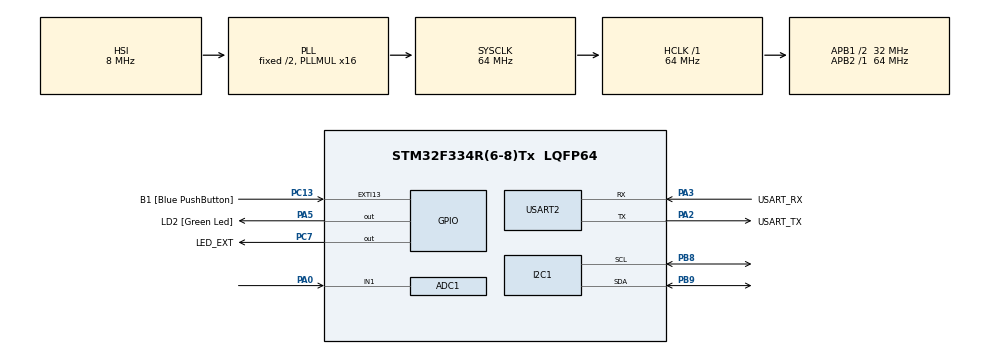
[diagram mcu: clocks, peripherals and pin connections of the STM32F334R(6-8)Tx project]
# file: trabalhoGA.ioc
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ADC1.Channel-0\#ChannelRegularConversion=ADC_CHANNEL_1
ADC1.ClockPrescaler=ADC_CLOCK_SYNC_PCLK_DIV2
ADC1.NbrOfConversionFlag=1
ADC1.Offset-0\#ChannelRegularConversion=0
ADC1.OffsetNumber-0\#ChannelRegularConversion=ADC_OFFSET_NONE
ADC1.Overrun=ADC_OVR_DATA_PRESERVED
ADC1.Rank-0\#ChannelRegularConversion=1
ADC1.SamplingTime-0\#ChannelRegularConversion=ADC_SAMPLETIME_61CYCLES_5
ADC1.SamplingTimeOPAMP-0\#ChannelRegularConversion=ADC_SAMPLETIME_61CYCLES_5
ADC1.SubFamily=STM32F334x8
ADC1.master=1
I2C1.Timing=0x00201D2B
Mcu.Family=STM32F3
Mcu.Name=STM32F334R(6-8)Tx
Mcu.Package=LQFP64
NVIC.EXTI15_10_IRQn=true\:0\:0\:false\:false\:true\:true\:true\:true
NVIC.PriorityGroup=NVIC_PRIORITYGROUP_0
NVIC.TIM6_DAC1_IRQn=true\:0\:0\:false\:false\:true\:true\:true\:true
PA0.Mode=IN1-Single-Ended
PA0.Signal=ADC1_IN1
PA13.GPIO_Label=TMS
PA13.Mode=Serial_Wire
PA13.Signal=SYS_JTMS-SWDIO
PA14.GPIO_Label=TCK
PA14.Mode=Serial_Wire
PA14.Signal=SYS_JTCK-SWCLK
PA2.GPIO_Label=USART_TX
PA2.Mode=Asynchronous
PA2.Signal=USART2_TX
PA3.GPIO_Label=USART_RX
PA3.Mode=Asynchronous
PA3.Signal=USART2_RX
PA5.GPIO_Label=LD2 [Green Led]
PA5.Signal=GPIO_Output
PB3.GPIO_Label=SWO
PB3.Signal=SYS_JTDO-TRACESWO
PB8.Mode=I2C
PB8.Signal=I2C1_SCL
PB9.Mode=I2C
PB9.Signal=I2C1_SDA
PC13.GPIO_Label=B1 [Blue PushButton]
PC13.GPIO_ModeDefaultEXTI=GPIO_MODE_IT_FALLING
PC13.Signal=GPXTI13
PC14\ /\ OSC32_IN.Mode=LSE-External-Oscillator
PC14\ /\ OSC32_IN.Signal=RCC_OSC32_IN
PC15\ /\ OSC32_OUT.GPIO_Label=RCC_OSC32_OUT
PC15\ /\ OSC32_OUT.Mode=LSE-External-Oscillator
PC15\ /\ OSC32_OUT.Signal=RCC_OSC32_OUT
PC7.GPIO_Label=LED_EXT
PC7.Signal=GPIO_Output
PF0\ /\ OSC_IN.Mode=HSE-External-Clock-Source
PF0\ /\ OSC_IN.Signal=RCC_OSC_IN
PF1\ /\ OSC_OUT.Signal=RCC_OSC_OUT
ProjectManager.HeapSize=0x200
ProjectManager.StackSize=0x400
ProjectManager.TargetToolchain=CMake
RCC.AHBFreq_Value=64000000
RCC.APB1CLKDivider=RCC_HCLK_DIV2
RCC.APB1Freq_Value=32000000
RCC.APB1TimFreq_Value=64000000
RCC.APB2Freq_Value=64000000
RCC.APB2TimFreq_Value=64000000
RCC.CortexFreq_Value=64000000
RCC.FLatency-AdvancedSettings=FLASH_LATENCY_2
RCC.HCLKFreq_Value=64000000
RCC.HSE_VALUE=8000000
RCC.HSI_VALUE=8000000
RCC.PLLMUL=RCC_PLL_MUL16
RCC.SYSCLKFreq_VALUE=64000000
RCC.SYSCLKSourceVirtual=RCC_SYSCLKSOURCE_PLLCLK
TIM6.Period=199
TIM6.Prescaler=63999
USART2.VirtualMode-Asynchronous=VM_ASYNC
VP_TIM6_VS_ClockSourceINT.Mode=Enable_Timer
board=NUCLEO-F334R8

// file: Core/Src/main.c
/* USER CODE BEGIN Header */
/**
 ******************************************************************************
 * @file           : main.c
 * @brief          : Main program body
 ******************************************************************************
 * @attention
 *
 * Copyright (c) 2026 STMicroelectronics.
 * All rights reserved.
 *
 * This software is licensed under terms that can be found in the LICENSE file
 * in the root directory of this software component.
 * If no LICENSE file comes with this software, it is provided AS-IS.
 *
 ******************************************************************************
 */
/* USER CODE END Header */
#include "main.h"
#include "adc.h"
#include "i2c.h"
#include "tim.h"
#include "usart.h"
#include "gpio.h"

/* USER CODE BEGIN Includes */
#include "bh1750.h"
/* USER CODE END Includes */

/* USER CODE BEGIN PTD */
typedef struct {
  uint16_t manualCountdown;
} Contexto;

typedef enum {
  INIT,
  AGUARDANDO,
  MEDIR,
  CLARO,
  ESCURO,
  MANUAL,
  ERRO
} EstadoID;

typedef EstadoID EstadoFunc(Contexto *ctx);
/* USER CODE END PTD */

/* USER CODE BEGIN PD */
#define LUZ_MIN 10
#define LUZ_MAX 500
#define MANUAL_TIMEOUT_TICKS 50 // 50 * 200ms = 10s
/* USER CODE END PD */

/* USER CODE BEGIN PV */
volatile uint8_t g_timerFlag = 0;
volatile uint8_t g_buttonFlag = 0;
float lux = 0;
float lux_minima = 0;
/* USER CODE END PV */

void SystemClock_Config(void);

/* USER CODE BEGIN 0 */
static EstadoID init(Contexto *ctx) {
  return AGUARDANDO;
}

static EstadoID aguardando(Contexto *ctx) {
  if (g_buttonFlag) {
    g_buttonFlag = 0;
    ctx->manualCountdown = MANUAL_TIMEOUT_TICKS;
    return MANUAL;
  }
  if (g_timerFlag) {
    g_timerFlag = 0;
    return MEDIR;
  }
  return AGUARDANDO;
}

static EstadoID medir(Contexto *ctx) {
  uint32_t potenciometro = 0;
  HAL_ADC_Start(&hadc1);
  if (HAL_ADC_PollForConversion(&hadc1, 10) == HAL_OK) {
    potenciometro = HAL_ADC_GetValue(&hadc1);
  }
  HAL_ADC_Stop(&hadc1);
  lux_minima = LUZ_MIN + (potenciometro / 4095.0f) * (LUZ_MAX - LUZ_MIN);

  HAL_StatusTypeDef st_read = BH1750_ReadLux(&hi2c1, &lux);
  if (st_read != HAL_OK) {
    return ERRO;
  }
  return (lux < lux_minima) ? ESCURO : CLARO;
}

static EstadoID claro(Contexto *ctx) {
  HAL_GPIO_WritePin(LED_EXT_GPIO_Port, LED_EXT_Pin, GPIO_PIN_RESET);
  return AGUARDANDO;
}

static EstadoID escuro(Contexto *ctx) {
  HAL_GPIO_WritePin(LED_EXT_GPIO_Port, LED_EXT_Pin, GPIO_PIN_SET);
  return AGUARDANDO;
}

static EstadoID manual(Contexto *ctx) {
  /* LED fixo aceso por 10s, sensor ignorado */
  HAL_GPIO_WritePin(LED_EXT_GPIO_Port, LED_EXT_Pin, GPIO_PIN_SET);
  if (g_buttonFlag) {
    g_buttonFlag = 0;
    HAL_GPIO_WritePin(LED_EXT_GPIO_Port, LED_EXT_Pin, GPIO_PIN_RESET);
    return AGUARDANDO;
  }
  if (g_timerFlag) {
    g_timerFlag = 0;
    ctx->manualCountdown--;
    if (ctx->manualCountdown == 0) {
      HAL_GPIO_WritePin(LED_EXT_GPIO_Port, LED_EXT_Pin, GPIO_PIN_RESET);
      return AGUARDANDO;
    }
    return MANUAL;
  }
  return MANUAL;
}

static EstadoID erro(Contexto *ctx) {
  HAL_GPIO_WritePin(LED_EXT_GPIO_Port, LED_EXT_Pin, GPIO_PIN_RESET);
  return AGUARDANDO;
}
/* USER CODE END 0 */

int main(void)
{

  /* MCU Configuration--------------------------------------------------------*/

  /* Reset of all peripherals, Initializes the Flash interface and the Systick. */
  HAL_Init();

  /* Configure the system clock */
  SystemClock_Config();

  /* Initialize all configured peripherals */
  MX_GPIO_Init();
  MX_I2C1_Init();
  MX_USART2_UART_Init();
  MX_ADC1_Init();
  MX_TIM6_Init();
  /* USER CODE BEGIN 2 */

  HAL_ADCEx_Calibration_Start(&hadc1, ADC_SINGLE_ENDED); // Autocalibração do ADC

  HAL_StatusTypeDef st_power = BH1750_PowerOn(&hi2c1);
  HAL_StatusTypeDef st_mode = BH1750_SetMode(&hi2c1, BH1750_MODE_CONTINUOUS_H_RES); // Sensor em medição contínua

  HAL_Delay(180); // Espera 180 ms, o tempo máximo de uma conversão em alta resolução segundo o datasheet, assim a primeira leitura já tem um valor válido

  HAL_TIM_Base_Start_IT(&htim6);

  Contexto ctx = {0};
  EstadoID estadoAtual = INIT;

  EstadoFunc *tabela_estados[] = {
      [INIT] = init,     [AGUARDANDO] = aguardando,
      [MEDIR] = medir,   [CLARO] = claro,
      [ESCURO] = escuro, [MANUAL] = manual,
      [ERRO] = erro,
  };
  /* USER CODE END 2 */

  /* Infinite loop */
  /* USER CODE BEGIN WHILE */
  while (1) {
    estadoAtual = tabela_estados[estadoAtual](&ctx);
    /* USER CODE END WHILE */

  }
}

void SystemClock_Config(void)
{
  RCC_OscInitTypeDef RCC_OscInitStruct = {0};
  RCC_ClkInitTypeDef RCC_ClkInitStruct = {0};
  RCC_PeriphCLKInitTypeDef PeriphClkInit = {0};

  /** Initializes the RCC Oscillators according to the specified parameters
  * in the RCC_OscInitTypeDef structure.
  */
  RCC_OscInitStruct.OscillatorType = RCC_OSCILLATORTYPE_HSI;
  RCC_OscInitStruct.HSIState = RCC_HSI_ON;
  RCC_OscInitStruct.HSICalibrationValue = RCC_HSICALIBRATION_DEFAULT;
  RCC_OscInitStruct.PLL.PLLState = RCC_PLL_ON;
  RCC_OscInitStruct.PLL.PLLSource = RCC_PLLSOURCE_HSI;
  RCC_OscInitStruct.PLL.PLLMUL = RCC_PLL_MUL16;
  if (HAL_RCC_OscConfig(&RCC_OscInitStruct) != HAL_OK)
  {
    Error_Handler();
  }

  /** Initializes the CPU, AHB and APB buses clocks
  */
  RCC_ClkInitStruct.ClockType = RCC_CLOCKTYPE_HCLK|RCC_CLOCKTYPE_SYSCLK
                              |RCC_CLOCKTYPE_PCLK1|RCC_CLOCKTYPE_PCLK2;
  RCC_ClkInitStruct.SYSCLKSource = RCC_SYSCLKSOURCE_PLLCLK;
  RCC_ClkInitStruct.AHBCLKDivider = RCC_SYSCLK_DIV1;
  RCC_ClkInitStruct.APB1CLKDivider = RCC_HCLK_DIV2;
  RCC_ClkInitStruct.APB2CLKDivider = RCC_HCLK_DIV1;

  if (HAL_RCC_ClockConfig(&RCC_ClkInitStruct, FLASH_LATENCY_2) != HAL_OK)
  {
    Error_Handler();
  }
  PeriphClkInit.PeriphClockSelection = RCC_PERIPHCLK_I2C1;
  PeriphClkInit.I2c1ClockSelection = RCC_I2C1CLKSOURCE_HSI;
  if (HAL_RCCEx_PeriphCLKConfig(&PeriphClkInit) != HAL_OK)
  {
    Error_Handler();
  }
}

/* USER CODE BEGIN 4 */
void HAL_TIM_PeriodElapsedCallback(TIM_HandleTypeDef *htim) {
  if (htim->Instance == TIM6) {
    g_timerFlag = 1; // Automático
  }
}

void HAL_GPIO_EXTI_Callback(uint16_t GPIO_Pin) {
  if (GPIO_Pin == B1_Pin) {
    g_buttonFlag = 1; // Manual
  }
}
/* USER CODE END 4 */

void Error_Handler(void)
{
  __disable_irq();
  while (1) {
  }
}
#ifdef USE_FULL_ASSERT
/**
  * @brief  Reports the name of the source file and the source line number
  *         where the assert_param error has occurred.
  * @param  file: pointer to the source file name
  * @param  line: assert_param error line source number
  * @retval None
  */
void assert_failed(uint8_t *file, uint32_t line)
{
  /* USER CODE BEGIN 6 */
  /* User can add his own implementation to report the file name and line
     number, ex: printf("Wrong parameters value: file %s on line %d\r\n", file,
     line) */
  /* USER CODE END 6 */
}
#endif /* USE_FULL_ASSERT */
